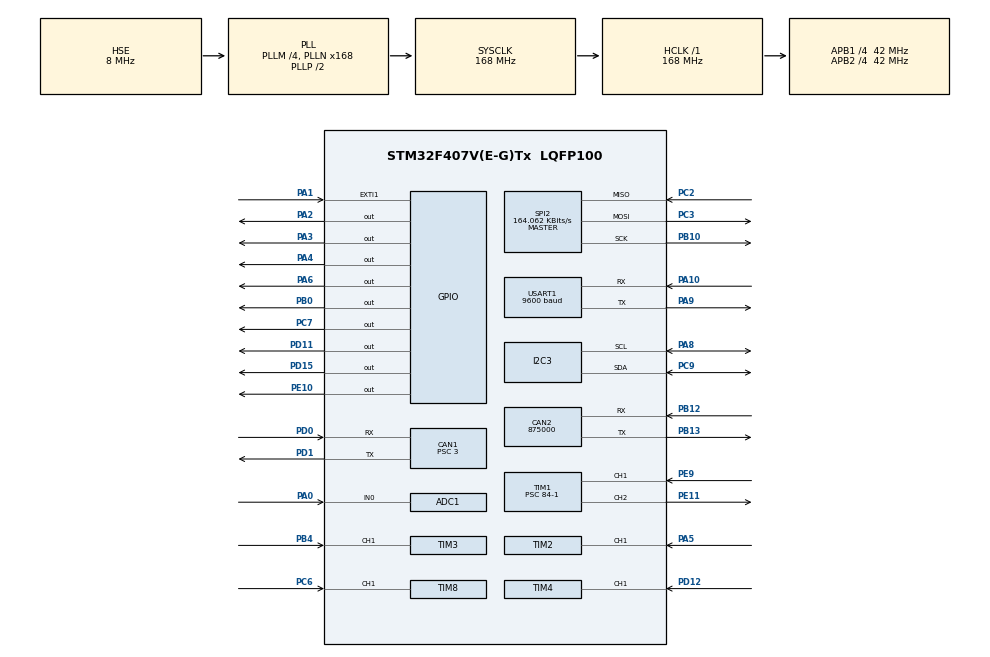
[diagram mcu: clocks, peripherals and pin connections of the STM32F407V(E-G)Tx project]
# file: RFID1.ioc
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ADC1.Channel-0\#ChannelRegularConversion=ADC_CHANNEL_0
ADC1.NbrOfConversionFlag=1
ADC1.Rank-0\#ChannelRegularConversion=1
ADC1.SamplingTime-0\#ChannelRegularConversion=ADC_SAMPLETIME_15CYCLES
ADC1.ScanConvMode=ENABLE
ADC1.master=1
CAN1.ABOM=DISABLE
CAN1.BS1=CAN_BS1_12TQ
CAN1.CalculateBaudRate=1000000
CAN1.CalculateTimeBit=1000
CAN1.CalculateTimeQuantum=71.42857142857143
CAN1.Mode=CAN_MODE_NORMAL
CAN1.NART=DISABLE
CAN1.Prescaler=3
CAN1.RFLM=DISABLE
CAN1.TXFP=DISABLE
CAN2.CalculateBaudRate=875000
CAN2.CalculateTimeBit=1142
CAN2.CalculateTimeQuantum=380.95238095238096
Dma.ADC1.0.Direction=DMA_PERIPH_TO_MEMORY
Dma.ADC1.0.FIFOMode=DMA_FIFOMODE_DISABLE
Dma.ADC1.0.Instance=DMA2_Stream0
Dma.ADC1.0.MemDataAlignment=DMA_MDATAALIGN_HALFWORD
Dma.ADC1.0.MemInc=DMA_MINC_ENABLE
Dma.ADC1.0.Mode=DMA_NORMAL
Dma.ADC1.0.PeriphDataAlignment=DMA_PDATAALIGN_HALFWORD
Dma.ADC1.0.PeriphInc=DMA_PINC_DISABLE
Dma.ADC1.0.Priority=DMA_PRIORITY_LOW
Dma.Request0=ADC1
Mcu.Family=STM32F4
Mcu.Name=STM32F407V(E-G)Tx
Mcu.Package=LQFP100
NVIC.ADC_IRQn=true\:0\:0\:false\:false\:true\:true\:true\:true
NVIC.CAN1_RX0_IRQn=true\:0\:0\:false\:false\:true\:true\:true\:true
NVIC.CAN1_RX1_IRQn=true\:0\:0\:false\:false\:true\:true\:true\:true
NVIC.CAN1_TX_IRQn=true\:0\:0\:false\:false\:true\:true\:true\:true
NVIC.DMA2_Stream0_IRQn=true\:0\:0\:false\:false\:true\:false\:true\:true
NVIC.PriorityGroup=NVIC_PRIORITYGROUP_4
NVIC.RCC_IRQn=true\:0\:0\:false\:false\:true\:true\:false\:true
NVIC.TIM1_BRK_TIM9_IRQn=true\:0\:0\:false\:false\:true\:true\:true\:true
NVIC.TIM1_CC_IRQn=true\:0\:0\:false\:false\:true\:true\:true\:true
NVIC.TIM1_TRG_COM_TIM11_IRQn=true\:0\:0\:false\:false\:true\:true\:true\:true
NVIC.TIM1_UP_TIM10_IRQn=true\:0\:0\:false\:false\:true\:true\:true\:true
NVIC.TIM2_IRQn=true\:0\:0\:false\:false\:true\:true\:true\:true
NVIC.TIM3_IRQn=true\:0\:0\:false\:false\:true\:true\:true\:true
NVIC.TIM4_IRQn=true\:0\:0\:false\:false\:true\:true\:true\:true
NVIC.TIM7_IRQn=true\:0\:0\:false\:false\:true\:true\:true\:true
NVIC.TIM8_BRK_TIM12_IRQn=true\:0\:0\:false\:false\:true\:true\:true\:true
NVIC.TIM8_CC_IRQn=true\:0\:0\:false\:false\:true\:true\:true\:true
NVIC.TIM8_TRG_COM_TIM14_IRQn=true\:0\:0\:false\:false\:true\:true\:true\:true
NVIC.TIM8_UP_TIM13_IRQn=true\:0\:0\:false\:false\:true\:true\:true\:true
NVIC.USART1_IRQn=true\:0\:0\:false\:false\:true\:true\:true\:true
PA0-WKUP.Signal=ADCx_IN0
PA1.Signal=GPXTI1
PA10.Mode=Asynchronous
PA10.Signal=USART1_RX
PA13.Mode=Serial_Wire
PA13.Signal=SYS_JTMS-SWDIO
PA14.Mode=Serial_Wire
PA14.Signal=SYS_JTCK-SWCLK
PA2.Signal=GPIO_Output
PA3.Signal=GPIO_Output
PA4.GPIO_PuPd=GPIO_PULLDOWN
PA4.Signal=GPIO_Output
PA5.Signal=S_TIM2_CH1_ETR
PA6.GPIO_PuPd=GPIO_PULLDOWN
PA6.Signal=GPIO_Output
PA8.Mode=I2C
PA8.Signal=I2C3_SCL
PA9.Mode=Asynchronous
PA9.Signal=USART1_TX
PB0.Signal=GPIO_Output
PB10.Mode=Full_Duplex_Master
PB10.Signal=SPI2_SCK
PB12.Mode=CAN_Activate
PB12.Signal=CAN2_RX
PB13.Mode=CAN_Activate
PB13.Signal=CAN2_TX
PB4.Signal=S_TIM3_CH1
PC2.Mode=Full_Duplex_Master
PC2.Signal=SPI2_MISO
PC3.Mode=Full_Duplex_Master
PC3.Signal=SPI2_MOSI
PC6.Signal=S_TIM8_CH1
PC7.Signal=GPIO_Output
PC9.Mode=I2C
PC9.Signal=I2C3_SDA
PD0.GPIO_PuPd=GPIO_PULLUP
PD0.Mode=CAN_Activate
PD0.Signal=CAN1_RX
PD1.Mode=CAN_Activate
PD1.Signal=CAN1_TX
PD11.GPIO_PuPd=GPIO_PULLDOWN
PD11.Signal=GPIO_Output
PD12.Signal=S_TIM4_CH1
PD15.GPIO_PuPd=GPIO_PULLDOWN
PD15.Signal=GPIO_Output
PE10.GPIO_PuPd=GPIO_PULLDOWN
PE10.Signal=GPIO_Output
PE11.Signal=S_TIM1_CH2
PE9.GPIO_PuPd=GPIO_NOPULL
PE9.Signal=S_TIM1_CH1
PH0-OSC_IN.Mode=HSE-External-Oscillator
PH0-OSC_IN.Signal=RCC_OSC_IN
PH1-OSC_OUT.Mode=HSE-External-Oscillator
PH1-OSC_OUT.Signal=RCC_OSC_OUT
ProjectManager.HeapSize=0x200
ProjectManager.StackSize=0x400
ProjectManager.TargetToolchain=STM32CubeIDE
RCC.48MHZClocksFreq_Value=84000000
RCC.AHBFreq_Value=168000000
RCC.APB1CLKDivider=RCC_HCLK_DIV4
RCC.APB1Freq_Value=42000000
RCC.APB1TimFreq_Value=84000000
RCC.APB2CLKDivider=RCC_HCLK_DIV4
RCC.APB2Freq_Value=42000000
RCC.APB2TimFreq_Value=84000000
RCC.CortexFreq_Value=168000000
RCC.HCLKFreq_Value=168000000
RCC.HSE_VALUE=8000000
RCC.HSI_VALUE=16000000
RCC.LSE_VALUE=32768
RCC.PLLM=4
RCC.PLLN=168
RCC.PLLSourceVirtual=RCC_PLLSOURCE_HSE
RCC.SYSCLKFreq_VALUE=168000000
RCC.SYSCLKSource=RCC_SYSCLKSOURCE_PLLCLK
RCC.VCOOutputFreq_Value=336000000
SH.ADCx_IN0.0=ADC1_IN0,IN0
SH.S_TIM1_CH1.0=TIM1_CH1,Input_Capture1_from_TI1
SH.S_TIM1_CH2.0=TIM1_CH2,PWM Generation2 CH2
SH.S_TIM2_CH1_ETR.0=TIM2_CH1,Input_Capture1_from_TI1
SH.S_TIM3_CH1.0=TIM3_CH1,Input_Capture1_from_TI1
SH.S_TIM4_CH1.0=TIM4_CH1,Input_Capture1_from_TI1
SH.S_TIM8_CH1.0=TIM8_CH1,Input_Capture1_from_TI1
SPI2.BaudRatePrescaler=SPI_BAUDRATEPRESCALER_256
SPI2.CalculateBaudRate=164.062 KBits/s
SPI2.Direction=SPI_DIRECTION_2LINES
SPI2.Mode=SPI_MODE_MASTER
SPI2.VirtualType=VM_MASTER
TIM1.Channel-Input_Capture1_from_TI1=TIM_CHANNEL_1
TIM1.Channel-PWM\ Generation2\ CH2=TIM_CHANNEL_2
TIM1.Period=65535-1
TIM1.Prescaler=84-1
TIM2.Channel-Input_Capture1_from_TI1=TIM_CHANNEL_1
TIM2.ICPolarity_CH1=TIM_INPUTCHANNELPOLARITY_FALLING
TIM2.Period=4294967295-1
TIM2.Prescaler=84-1
TIM3.Channel-Input_Capture1_from_TI1=TIM_CHANNEL_1
TIM3.Period=65535-1
TIM3.Prescaler=84-1
TIM4.Channel-Input_Capture1_from_TI1=TIM_CHANNEL_1
TIM4.Period=65535-1
TIM4.Prescaler=84-1
TIM6.Period=65535-1
TIM6.Prescaler=84-1
TIM7.AutoReloadPreload=TIM_AUTORELOAD_PRELOAD_ENABLE
TIM7.Period=999
TIM7.Prescaler=83
TIM8.Channel-Input_Capture1_from_TI1=TIM_CHANNEL_1
TIM8.Period=0xffff-1
TIM8.Prescaler=84-1
USART1.BaudRate=9600
USART1.VirtualMode=VM_ASYNC
VP_CRC_VS_CRC.Mode=CRC_Activate
VP_TIM1_VS_ClockSourceINT.Mode=Internal
VP_TIM2_VS_ClockSourceINT.Mode=Internal
VP_TIM3_VS_ClockSourceINT.Mode=Internal
VP_TIM4_VS_ClockSourceINT.Mode=Internal
VP_TIM6_VS_ClockSourceINT.Mode=Enable_Timer
VP_TIM7_VS_ClockSourceINT.Mode=Enable_Timer
VP_TIM8_VS_ClockSourceINT.Mode=Internal
board=custom

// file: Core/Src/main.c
/* USER CODE BEGIN Header */
/**
  ******************************************************************************
  * @file           : main.c
  * @brief          : Main program body
  ******************************************************************************
  * @attention
  *
  * Copyright (c) 2025 STMicroelectronics.
  * All rights reserved.
  *
  * This software is licensed under terms that can be found in the LICENSE file
  * in the root directory of this software component.
  * If no LICENSE file comes with this software, it is provided AS-IS.
  *
  ******************************************************************************
  */
/* USER CODE END Header */
#include "main.h"

/* USER CODE BEGIN Includes */
#include "RC522.h"
#include "string.h"
#include <stdio.h>
#include <stdbool.h>
#include "MQ135.h"
#include "liquidcrystal_i2c.h"
#include "BNO055_STM32.h"
#include "display.h"
#include "rfid.h"
#include "Debug.h"
#include "can_receive.h"
#include "ultrasonic_sensor.h"
#include "nvic_config.h"
#include "can_tranceive.h"
//#include "sensor_test.h"

/* USER CODE END Includes */

ADC_HandleTypeDef hadc1;
DMA_HandleTypeDef hdma_adc1;

CAN_HandleTypeDef hcan1;
CAN_HandleTypeDef hcan2;

CRC_HandleTypeDef hcrc;

I2C_HandleTypeDef hi2c3;

SPI_HandleTypeDef hspi2;

TIM_HandleTypeDef htim1;
TIM_HandleTypeDef htim2;
TIM_HandleTypeDef htim3;
TIM_HandleTypeDef htim4;
TIM_HandleTypeDef htim6;
TIM_HandleTypeDef htim7;
TIM_HandleTypeDef htim8;

UART_HandleTypeDef huart1;

/* USER CODE BEGIN PV */

CAN_FilterTypeDef canfilterconfig;

uint8_t status;
uint8_t	str[16];
uint8_t sNum[5];

/* USER CODE END PV */

void SystemClock_Config(void);
static void MX_GPIO_Init(void);
static void MX_DMA_Init(void);
static void MX_USART1_UART_Init(void);
static void MX_SPI2_Init(void);
static void MX_ADC1_Init(void);
static void MX_CAN1_Init(void);
static void MX_CRC_Init(void);
static void MX_TIM8_Init(void);
static void MX_CAN2_Init(void);
static void MX_I2C3_Init(void);
static void MX_TIM1_Init(void);
static void MX_TIM2_Init(void);
static void MX_TIM4_Init(void);
static void MX_TIM6_Init(void);
static void MX_TIM3_Init(void);
static void MX_TIM7_Init(void);

/* USER CODE BEGIN 0 */
#define UID_LEN 5
MQ135_HandleTypeDef mq135;

CAN_TxHeaderTypeDef TxHeader;
CAN_RxHeaderTypeDef RxHeader;
uint32_t TxMailbox; //hộp thư sẽ được gửi đến bus CAN
uint8_t txData[8] ;
uint8_t rxData[8];

int datacheck=0;
volatile uint8_t can_rx_flag = 0;
char uart_msg_buffer[64];

 uint32_t debug_timer = 0;
 uint32_t imu_timer = 0;

volatile uint32_t can_tx_count = 0;
volatile uint32_t can_rx_count = 0;
uint32_t last_tick_can_stat = 0;

volatile uint8_t timer10ms_flag = 0;

MQ135_HandleTypeDef mq135;
uint32_t ADC_SAMPLES[1000];
uint32_t NUM_SAMPLES = 0;
volatile uint8_t mq135_done = 0;

void HAL_TIM_PeriodElapsedCallback(TIM_HandleTypeDef *htim)
{
    if (htim->Instance == TIM7) {
        timer10ms_flag = 1;
    }
}
void HAL_ADC_ConvCpltCallback(ADC_HandleTypeDef *hadc) {
    static uint32_t idx = 0;
    ADC_SAMPLES[idx++] = HAL_ADC_GetValue(hadc);

    if (idx < NUM_SAMPLES) {
        HAL_ADC_Start_IT(hadc);
    } else {
        HAL_ADC_Stop_IT(hadc);
        mq135_done = 1;
        idx = 0;
    }
}

/* USER CODE END 0 */

int main(void)
{

  /* MCU Configuration--------------------------------------------------------*/

  /* Reset of all peripherals, Initializes the Flash interface and the Systick. */
  HAL_Init();

  /* Configure the system clock */
  SystemClock_Config();

  /* Initialize all configured peripherals */
  MX_GPIO_Init();
  MX_DMA_Init();
  MX_USART1_UART_Init();
  MX_SPI2_Init();
  MX_ADC1_Init();
  MX_CAN1_Init();
  MX_CRC_Init();
  MX_TIM8_Init();
  MX_CAN2_Init();
  MX_I2C3_Init();
  MX_TIM1_Init();
  MX_TIM2_Init();
  MX_TIM4_Init();
  MX_TIM6_Init();
  MX_TIM3_Init();
  MX_TIM7_Init();
  /* USER CODE BEGIN 2 */
//  HAL_CAN_Start(&hcan1);
//  HAL_TIM_IC_Start_IT(&htim1, TIM_CHANNEL_1);
//  HAL_TIM_IC_Start_IT(&htim1, TIM_CHANNEL_2);
//  HAL_TIM_IC_Start_IT(&htim2, TIM_CHANNEL_1);
//  HAL_TIM_IC_Start_IT(&htim3, TIM_CHANNEL_1);
//  HAL_TIM_IC_Start_IT(&htim4, TIM_CHANNEL_1);
//  HAL_TIM_IC_Start_IT(&htim8, TIM_CHANNEL_1);
//
//  // Enable interrupt đúng kênh
//  __HAL_TIM_ENABLE_IT(&htim1, TIM_IT_CC1);
//  __HAL_TIM_ENABLE_IT(&htim1, TIM_IT_CC2);
//  __HAL_TIM_ENABLE_IT(&htim3, TIM_IT_CC1);
//  __HAL_TIM_ENABLE_IT(&htim4, TIM_IT_CC1);
//  __HAL_TIM_ENABLE_IT(&htim8, TIM_IT_CC1);
  MFRC522_Init();
  BNO055_Init();
  HD44780_Init(2);       // LCD 2 dòng
  HD44780_Backlight();   // Bật đèn nền
  MQ135_Config(&mq135, &hadc1);
  HAL_CAN_Start(&hcan1);
  HAL_CAN_Start(&hcan2);
  CAN_DebugStatus();
  HAL_CAN_ConfigFilter(&hcan1, &canfilterconfig);
  HAL_CAN_ConfigFilter(&hcan2, &canfilterconfig);
	    // Cấu hình và hiệu chuẩn MQ135
	    MQ135_Config(&mq135, &hadc1);
	    MQ135_CalibrateRo(&mq135, 25.0f, 50.0f);  // không khí sạch giả lập
// // Activate the notification
  HAL_CAN_ActivateNotification(&hcan1, CAN_IT_RX_FIFO0_MSG_PENDING);
//  DisplayTopicMenuUART();
//  BNO055_SendEulerCAN();
//  checkRFIDAndControlRelay();
  HAL_TIM_Base_Start_IT(&htim7);

  /* USER CODE END 2 */

  /* Infinite loop */
  /* USER CODE BEGIN WHILE */
  while (1){
//	  HandleUARTChoice();

	  if (can_rx_flag) {
	      can_rx_flag = 0;

	      // Static lưu trạng thái trước đó
	      static uint32_t last_id = 0xFFFFFFFF;
	      static uint8_t last_data[8] = {0};
	      static uint8_t last_dlc = 0;
	      static uint8_t first_time = 1;

	      // Sao lưu dữ liệu hiện tại để tránh bị ghi đè
	      uint32_t curr_id = RxHeader.StdId;
	      uint8_t curr_dlc = RxHeader.DLC;
	      uint8_t curr_data[8];
	      memcpy(curr_data, rxData, curr_dlc);

	      if ((curr_id == 0x013 || curr_id == 0x020) &&
	          (first_time ||
	           curr_id != last_id ||
	           curr_dlc != last_dlc ||
	           memcmp(curr_data, last_data, curr_dlc) != 0)) {

	          CAN_ReceiveAndPrint();

	          // Cập nhật thông tin cho lần so sánh sau
	          last_id = curr_id;
	          last_dlc = curr_dlc;
	          memcpy(last_data, curr_data, curr_dlc);
	          first_time = 0;
	      }
	  }
	  Send_All_SensorData_CAN();
//	  checkRFIDAndControlRelay();
	  DisplaySensorData_ByTopic ();

	    if (HAL_GetTick() - last_tick_can_stat >= 1000) {
	           char msg[64];
	           snprintf(msg, sizeof(msg), "\r\nCAN TX/s: %lu | RX/s: %lu\r\n", can_tx_count, can_rx_count);
	           HAL_UART_Transmit(&huart2, (uint8_t*)msg, strlen(msg), HAL_MAX_DELAY);

	           can_tx_count = 0;
	           can_rx_count = 0;
	           last_tick_can_stat = HAL_GetTick();
	       }

    /* USER CODE END WHILE */

  }
}

void SystemClock_Config(void)
{
  RCC_OscInitTypeDef RCC_OscInitStruct = {0};
  RCC_ClkInitTypeDef RCC_ClkInitStruct = {0};

  /** Configure the main internal regulator output voltage
  */
  __HAL_RCC_PWR_CLK_ENABLE();
  __HAL_PWR_VOLTAGESCALING_CONFIG(PWR_REGULATOR_VOLTAGE_SCALE1);

  /** Initializes the RCC Oscillators according to the specified parameters
  * in the RCC_OscInitTypeDef structure.
  */
  RCC_OscInitStruct.OscillatorType = RCC_OSCILLATORTYPE_HSE;
  RCC_OscInitStruct.HSEState = RCC_HSE_ON;
  RCC_OscInitStruct.PLL.PLLState = RCC_PLL_ON;
  RCC_OscInitStruct.PLL.PLLSource = RCC_PLLSOURCE_HSE;
  RCC_OscInitStruct.PLL.PLLM = 4;
  RCC_OscInitStruct.PLL.PLLN = 168;
  RCC_OscInitStruct.PLL.PLLP = RCC_PLLP_DIV2;
  RCC_OscInitStruct.PLL.PLLQ = 4;
  if (HAL_RCC_OscConfig(&RCC_OscInitStruct) != HAL_OK)
  {
    Error_Handler();
  }

  /** Initializes the CPU, AHB and APB buses clocks
  */
  RCC_ClkInitStruct.ClockType = RCC_CLOCKTYPE_HCLK|RCC_CLOCKTYPE_SYSCLK
                              |RCC_CLOCKTYPE_PCLK1|RCC_CLOCKTYPE_PCLK2;
  RCC_ClkInitStruct.SYSCLKSource = RCC_SYSCLKSOURCE_PLLCLK;
  RCC_ClkInitStruct.AHBCLKDivider = RCC_SYSCLK_DIV1;
  RCC_ClkInitStruct.APB1CLKDivider = RCC_HCLK_DIV4;
  RCC_ClkInitStruct.APB2CLKDivider = RCC_HCLK_DIV4;

  if (HAL_RCC_ClockConfig(&RCC_ClkInitStruct, FLASH_LATENCY_5) != HAL_OK)
  {
    Error_Handler();
  }
}

static void MX_ADC1_Init(void)
{

  ADC_ChannelConfTypeDef sConfig = {0};

  /** Configure the global features of the ADC (Clock, Resolution, Data Alignment and number of conversion)
  */
  hadc1.Instance = ADC1;
  hadc1.Init.ClockPrescaler = ADC_CLOCK_SYNC_PCLK_DIV2;
  hadc1.Init.Resolution = ADC_RESOLUTION_12B;
  hadc1.Init.ScanConvMode = ENABLE;
  hadc1.Init.ContinuousConvMode = DISABLE;
  hadc1.Init.DiscontinuousConvMode = DISABLE;
  hadc1.Init.ExternalTrigConvEdge = ADC_EXTERNALTRIGCONVEDGE_NONE;
  hadc1.Init.ExternalTrigConv = ADC_SOFTWARE_START;
  hadc1.Init.DataAlign = ADC_DATAALIGN_RIGHT;
  hadc1.Init.NbrOfConversion = 1;
  hadc1.Init.DMAContinuousRequests = DISABLE;
  hadc1.Init.EOCSelection = ADC_EOC_SINGLE_CONV;
  if (HAL_ADC_Init(&hadc1) != HAL_OK)
  {
    Error_Handler();
  }

  /** Configure for the selected ADC regular channel its corresponding rank in the sequencer and its sample time.
  */
  sConfig.Channel = ADC_CHANNEL_0;
  sConfig.Rank = 1;
  sConfig.SamplingTime = ADC_SAMPLETIME_15CYCLES;
  if (HAL_ADC_ConfigChannel(&hadc1, &sConfig) != HAL_OK)
  {
    Error_Handler();
  }

}

static void MX_CAN1_Init(void)
{

  hcan1.Instance = CAN1;
  hcan1.Init.Prescaler = 3;
  hcan1.Init.Mode = CAN_MODE_NORMAL;
  hcan1.Init.SyncJumpWidth = CAN_SJW_1TQ;
  hcan1.Init.TimeSeg1 = CAN_BS1_12TQ;
  hcan1.Init.TimeSeg2 = CAN_BS2_1TQ;
  hcan1.Init.TimeTriggeredMode = DISABLE;
  hcan1.Init.AutoBusOff = DISABLE;
  hcan1.Init.AutoWakeUp = DISABLE;
  hcan1.Init.AutoRetransmission = DISABLE;
  hcan1.Init.ReceiveFifoLocked = DISABLE;
  hcan1.Init.TransmitFifoPriority = DISABLE;
  if (HAL_CAN_Init(&hcan1) != HAL_OK)
  {
    Error_Handler();
  }
  /* USER CODE BEGIN CAN1_Init 2 */

	canfilterconfig.FilterActivation = CAN_FILTER_ENABLE;
	canfilterconfig.FilterBank = 14;  // hoặc bank khác chưa dùng
	canfilterconfig.FilterFIFOAssignment = CAN_FILTER_FIFO0;
	canfilterconfig.FilterIdHigh = 0x0000;       // 0x100 << 5 = 0x0800
	canfilterconfig.FilterIdLow = 0x0000;            // Không cần dùng
	canfilterconfig.FilterMaskIdHigh = 0x0000;   // 0x7FF << 5 = 0xFFE0
	canfilterconfig.FilterMaskIdLow = 0x0000;
	canfilterconfig.FilterMode = CAN_FILTERMODE_IDMASK;
	canfilterconfig.FilterScale = CAN_FILTERSCALE_32BIT;
	canfilterconfig.SlaveStartFilterBank =0;
  /* USER CODE END CAN1_Init 2 */

}

static void MX_CAN2_Init(void)
{

  hcan2.Instance = CAN2;
  hcan2.Init.Prescaler = 16;
  hcan2.Init.Mode = CAN_MODE_NORMAL;
  hcan2.Init.SyncJumpWidth = CAN_SJW_1TQ;
  hcan2.Init.TimeSeg1 = CAN_BS1_1TQ;
  hcan2.Init.TimeSeg2 = CAN_BS2_1TQ;
  hcan2.Init.TimeTriggeredMode = DISABLE;
  hcan2.Init.AutoBusOff = DISABLE;
  hcan2.Init.AutoWakeUp = DISABLE;
  hcan2.Init.AutoRetransmission = DISABLE;
  hcan2.Init.ReceiveFifoLocked = DISABLE;
  hcan2.Init.TransmitFifoPriority = DISABLE;
  if (HAL_CAN_Init(&hcan2) != HAL_OK)
  {
    Error_Handler();
  }

}

static void MX_CRC_Init(void)
{

  hcrc.Instance = CRC;
  if (HAL_CRC_Init(&hcrc) != HAL_OK)
  {
    Error_Handler();
  }

}

static void MX_I2C3_Init(void)
{

  hi2c3.Instance = I2C3;
  hi2c3.Init.ClockSpeed = 100000;
  hi2c3.Init.DutyCycle = I2C_DUTYCYCLE_2;
  hi2c3.Init.OwnAddress1 = 0;
  hi2c3.Init.AddressingMode = I2C_ADDRESSINGMODE_7BIT;
  hi2c3.Init.DualAddressMode = I2C_DUALADDRESS_DISABLE;
  hi2c3.Init.OwnAddress2 = 0;
  hi2c3.Init.GeneralCallMode = I2C_GENERALCALL_DISABLE;
  hi2c3.Init.NoStretchMode = I2C_NOSTRETCH_DISABLE;
  if (HAL_I2C_Init(&hi2c3) != HAL_OK)
  {
    Error_Handler();
  }

}

static void MX_SPI2_Init(void)
{

  /* SPI2 parameter configuration*/
  hspi2.Instance = SPI2;
  hspi2.Init.Mode = SPI_MODE_MASTER;
  hspi2.Init.Direction = SPI_DIRECTION_2LINES;
  hspi2.Init.DataSize = SPI_DATASIZE_8BIT;
  hspi2.Init.CLKPolarity = SPI_POLARITY_LOW;
  hspi2.Init.CLKPhase = SPI_PHASE_1EDGE;
  hspi2.Init.NSS = SPI_NSS_SOFT;
  hspi2.Init.BaudRatePrescaler = SPI_BAUDRATEPRESCALER_256;
  hspi2.Init.FirstBit = SPI_FIRSTBIT_MSB;
  hspi2.Init.TIMode = SPI_TIMODE_DISABLE;
  hspi2.Init.CRCCalculation = SPI_CRCCALCULATION_DISABLE;
  hspi2.Init.CRCPolynomial = 10;
  if (HAL_SPI_Init(&hspi2) != HAL_OK)
  {
    Error_Handler();
  }

}

static void MX_TIM1_Init(void)
{

  TIM_ClockConfigTypeDef sClockSourceConfig = {0};
  TIM_MasterConfigTypeDef sMasterConfig = {0};
  TIM_IC_InitTypeDef sConfigIC = {0};
  TIM_OC_InitTypeDef sConfigOC = {0};
  TIM_BreakDeadTimeConfigTypeDef sBreakDeadTimeConfig = {0};

  htim1.Instance = TIM1;
  htim1.Init.Prescaler = 84-1;
  htim1.Init.CounterMode = TIM_COUNTERMODE_UP;
  htim1.Init.Period = 65535-1;
  htim1.Init.ClockDivision = TIM_CLOCKDIVISION_DIV1;
  htim1.Init.RepetitionCounter = 0;
  htim1.Init.AutoReloadPreload = TIM_AUTORELOAD_PRELOAD_DISABLE;
  if (HAL_TIM_Base_Init(&htim1) != HAL_OK)
  {
    Error_Handler();
  }
  sClockSourceConfig.ClockSource = TIM_CLOCKSOURCE_INTERNAL;
  if (HAL_TIM_ConfigClockSource(&htim1, &sClockSourceConfig) != HAL_OK)
  {
    Error_Handler();
  }
  if (HAL_TIM_IC_Init(&htim1) != HAL_OK)
  {
    Error_Handler();
  }
  if (HAL_TIM_PWM_Init(&htim1) != HAL_OK)
  {
    Error_Handler();
  }
  sMasterConfig.MasterOutputTrigger = TIM_TRGO_RESET;
  sMasterConfig.MasterSlaveMode = TIM_MASTERSLAVEMODE_DISABLE;
  if (HAL_TIMEx_MasterConfigSynchronization(&htim1, &sMasterConfig) != HAL_OK)
  {
    Error_Handler();
  }
  sConfigIC.ICPolarity = TIM_INPUTCHANNELPOLARITY_RISING;
  sConfigIC.ICSelection = TIM_ICSELECTION_DIRECTTI;
  sConfigIC.ICPrescaler = TIM_ICPSC_DIV1;
  sConfigIC.ICFilter = 0;
  if (HAL_TIM_IC_ConfigChannel(&htim1, &sConfigIC, TIM_CHANNEL_1) != HAL_OK)
  {
    Error_Handler();
  }
  sConfigOC.OCMode = TIM_OCMODE_PWM1;
  sConfigOC.Pulse = 0;
  sConfigOC.OCPolarity = TIM_OCPOLARITY_HIGH;
  sConfigOC.OCNPolarity = TIM_OCNPOLARITY_HIGH;
  sConfigOC.OCFastMode = TIM_OCFAST_DISABLE;
  sConfigOC.OCIdleState = TIM_OCIDLESTATE_RESET;
  sConfigOC.OCNIdleState = TIM_OCNIDLESTATE_RESET;
  if (HAL_TIM_PWM_ConfigChannel(&htim1, &sConfigOC, TIM_CHANNEL_2) != HAL_OK)
  {
    Error_Handler();
  }
  sBreakDeadTimeConfig.OffStateRunMode = TIM_OSSR_DISABLE;
  sBreakDeadTimeConfig.OffStateIDLEMode = TIM_OSSI_DISABLE;
  sBreakDeadTimeConfig.LockLevel = TIM_LOCKLEVEL_OFF;
  sBreakDeadTimeConfig.DeadTime = 0;
  sBreakDeadTimeConfig.BreakState = TIM_BREAK_DISABLE;
  sBreakDeadTimeConfig.BreakPolarity = TIM_BREAKPOLARITY_HIGH;
  sBreakDeadTimeConfig.AutomaticOutput = TIM_AUTOMATICOUTPUT_DISABLE;
  if (HAL_TIMEx_ConfigBreakDeadTime(&htim1, &sBreakDeadTimeConfig) != HAL_OK)
  {
    Error_Handler();
  }
  HAL_TIM_MspPostInit(&htim1);

}

static void MX_TIM2_Init(void)
{

  TIM_ClockConfigTypeDef sClockSourceConfig = {0};
  TIM_MasterConfigTypeDef sMasterConfig = {0};
  TIM_IC_InitTypeDef sConfigIC = {0};

  htim2.Instance = TIM2;
  htim2.Init.Prescaler = 84-1;
  htim2.Init.CounterMode = TIM_COUNTERMODE_UP;
  htim2.Init.Period = 4294967295-1;
  htim2.Init.ClockDivision = TIM_CLOCKDIVISION_DIV1;
  htim2.Init.AutoReloadPreload = TIM_AUTORELOAD_PRELOAD_DISABLE;
  if (HAL_TIM_Base_Init(&htim2) != HAL_OK)
  {
    Error_Handler();
  }
  sClockSourceConfig.ClockSource = TIM_CLOCKSOURCE_INTERNAL;
  if (HAL_TIM_ConfigClockSource(&htim2, &sClockSourceConfig) != HAL_OK)
  {
    Error_Handler();
  }
  if (HAL_TIM_IC_Init(&htim2) != HAL_OK)
  {
    Error_Handler();
  }
  sMasterConfig.MasterOutputTrigger = TIM_TRGO_RESET;
  sMasterConfig.MasterSlaveMode = TIM_MASTERSLAVEMODE_DISABLE;
  if (HAL_TIMEx_MasterConfigSynchronization(&htim2, &sMasterConfig) != HAL_OK)
  {
    Error_Handler();
  }
  sConfigIC.ICPolarity = TIM_INPUTCHANNELPOLARITY_FALLING;
  sConfigIC.ICSelection = TIM_ICSELECTION_DIRECTTI;
  sConfigIC.ICPrescaler = TIM_ICPSC_DIV1;
  sConfigIC.ICFilter = 0;
  if (HAL_TIM_IC_ConfigChannel(&htim2, &sConfigIC, TIM_CHANNEL_1) != HAL_OK)
  {
    Error_Handler();
  }

}

static void MX_TIM3_Init(void)
{

  TIM_ClockConfigTypeDef sClockSourceConfig = {0};
  TIM_MasterConfigTypeDef sMasterConfig = {0};
  TIM_IC_InitTypeDef sConfigIC = {0};

  htim3.Instance = TIM3;
  htim3.Init.Prescaler = 84-1;
  htim3.Init.CounterMode = TIM_COUNTERMODE_UP;
  htim3.Init.Period = 65535-1;
  htim3.Init.ClockDivision = TIM_CLOCKDIVISION_DIV1;
  htim3.Init.AutoReloadPreload = TIM_AUTORELOAD_PRELOAD_DISABLE;
  if (HAL_TIM_Base_Init(&htim3) != HAL_OK)
  {
    Error_Handler();
  }
  sClockSourceConfig.ClockSource = TIM_CLOCKSOURCE_INTERNAL;
  if (HAL_TIM_ConfigClockSource(&htim3, &sClockSourceConfig) != HAL_OK)
  {
    Error_Handler();
  }
  if (HAL_TIM_IC_Init(&htim3) != HAL_OK)
  {
    Error_Handler();
  }
  sMasterConfig.MasterOutputTrigger = TIM_TRGO_RESET;
  sMasterConfig.MasterSlaveMode = TIM_MASTERSLAVEMODE_DISABLE;
  if (HAL_TIMEx_MasterConfigSynchronization(&htim3, &sMasterConfig) != HAL_OK)
  {
    Error_Handler();
  }
  sConfigIC.ICPolarity = TIM_INPUTCHANNELPOLARITY_RISING;
  sConfigIC.ICSelection = TIM_ICSELECTION_DIRECTTI;
  sConfigIC.ICPrescaler = TIM_ICPSC_DIV1;
  sConfigIC.ICFilter = 0;
  if (HAL_TIM_IC_ConfigChannel(&htim3, &sConfigIC, TIM_CHANNEL_1) != HAL_OK)
  {
    Error_Handler();
  }

}

static void MX_TIM4_Init(void)
{

  TIM_ClockConfigTypeDef sClockSourceConfig = {0};
  TIM_MasterConfigTypeDef sMasterConfig = {0};
  TIM_IC_InitTypeDef sConfigIC = {0};

  htim4.Instance = TIM4;
  htim4.Init.Prescaler = 84-1;
  htim4.Init.CounterMode = TIM_COUNTERMODE_UP;
  htim4.Init.Period = 65535-1;
  htim4.Init.ClockDivision = TIM_CLOCKDIVISION_DIV1;
  htim4.Init.AutoReloadPreload = TIM_AUTORELOAD_PRELOAD_DISABLE;
  if (HAL_TIM_Base_Init(&htim4) != HAL_OK)
  {
    Error_Handler();
  }
  sClockSourceConfig.ClockSource = TIM_CLOCKSOURCE_INTERNAL;
  if (HAL_TIM_ConfigClockSource(&htim4, &sClockSourceConfig) != HAL_OK)
  {
    Error_Handler();
  }
  if (HAL_TIM_IC_Init(&htim4) != HAL_OK)
  {
    Error_Handler();
  }
  sMasterConfig.MasterOutputTrigger = TIM_TRGO_RESET;
  sMasterConfig.MasterSlaveMode = TIM_MASTERSLAVEMODE_DISABLE;
  if (HAL_TIMEx_MasterConfigSynchronization(&htim4, &sMasterConfig) != HAL_OK)
  {
    Error_Handler();
  }
  sConfigIC.ICPolarity = TIM_INPUTCHANNELPOLARITY_RISING;
  sConfigIC.ICSelection = TIM_ICSELECTION_DIRECTTI;
  sConfigIC.ICPrescaler = TIM_ICPSC_DIV1;
  sConfigIC.ICFilter = 0;
  if (HAL_TIM_IC_ConfigChannel(&htim4, &sConfigIC, TIM_CHANNEL_1) != HAL_OK)
  {
    Error_Handler();
  }

}

static void MX_TIM6_Init(void)
{

  TIM_MasterConfigTypeDef sMasterConfig = {0};

  htim6.Instance = TIM6;
  htim6.Init.Prescaler = 84-1;
  htim6.Init.CounterMode = TIM_COUNTERMODE_UP;
  htim6.Init.Period = 65535-1;
  htim6.Init.AutoReloadPreload = TIM_AUTORELOAD_PRELOAD_DISABLE;
  if (HAL_TIM_Base_Init(&htim6) != HAL_OK)
  {
    Error_Handler();
  }
  sMasterConfig.MasterOutputTrigger = TIM_TRGO_RESET;
  sMasterConfig.MasterSlaveMode = TIM_MASTERSLAVEMODE_DISABLE;
  if (HAL_TIMEx_MasterConfigSynchronization(&htim6, &sMasterConfig) != HAL_OK)
  {
    Error_Handler();
  }

}

static void MX_TIM7_Init(void)
{

  TIM_MasterConfigTypeDef sMasterConfig = {0};

  htim7.Instance = TIM7;
  htim7.Init.Prescaler = 83;
  htim7.Init.CounterMode = TIM_COUNTERMODE_UP;
  htim7.Init.Period = 999;
  htim7.Init.AutoReloadPreload = TIM_AUTORELOAD_PRELOAD_ENABLE;
  if (HAL_TIM_Base_Init(&htim7) != HAL_OK)
  {
    Error_Handler();
  }
  sMasterConfig.MasterOutputTrigger = TIM_TRGO_RESET;
  sMasterConfig.MasterSlaveMode = TIM_MASTERSLAVEMODE_DISABLE;
  if (HAL_TIMEx_MasterConfigSynchronization(&htim7, &sMasterConfig) != HAL_OK)
  {
    Error_Handler();
  }

}

static void MX_TIM8_Init(void)
{

  TIM_ClockConfigTypeDef sClockSourceConfig = {0};
  TIM_MasterConfigTypeDef sMasterConfig = {0};
  TIM_IC_InitTypeDef sConfigIC = {0};

  htim8.Instance = TIM8;
  htim8.Init.Prescaler = 84-1;
  htim8.Init.CounterMode = TIM_COUNTERMODE_UP;
  htim8.Init.Period = 0xffff-1;
  htim8.Init.ClockDivision = TIM_CLOCKDIVISION_DIV1;
  htim8.Init.RepetitionCounter = 0;
  htim8.Init.AutoReloadPreload = TIM_AUTORELOAD_PRELOAD_DISABLE;
  if (HAL_TIM_Base_Init(&htim8) != HAL_OK)
  {
    Error_Handler();
  }
  sClockSourceConfig.ClockSource = TIM_CLOCKSOURCE_INTERNAL;
  if (HAL_TIM_ConfigClockSource(&htim8, &sClockSourceConfig) != HAL_OK)
  {
    Error_Handler();
  }
  if (HAL_TIM_IC_Init(&htim8) != HAL_OK)
  {
    Error_Handler();
  }
  sMasterConfig.MasterOutputTrigger = TIM_TRGO_RESET;
  sMasterConfig.MasterSlaveMode = TIM_MASTERSLAVEMODE_DISABLE;
  if (HAL_TIMEx_MasterConfigSynchronization(&htim8, &sMasterConfig) != HAL_OK)
  {
    Error_Handler();
  }
  sConfigIC.ICPolarity = TIM_INPUTCHANNELPOLARITY_RISING;
  sConfigIC.ICSelection = TIM_ICSELECTION_DIRECTTI;
  sConfigIC.ICPrescaler = TIM_ICPSC_DIV1;
  sConfigIC.ICFilter = 0;
  if (HAL_TIM_IC_ConfigChannel(&htim8, &sConfigIC, TIM_CHANNEL_1) != HAL_OK)
  {
    Error_Handler();
  }

}

static void MX_USART1_UART_Init(void)
{

  huart1.Instance = USART1;
  huart1.Init.BaudRate = 9600;
  huart1.Init.WordLength = UART_WORDLENGTH_8B;
  huart1.Init.StopBits = UART_STOPBITS_1;
  huart1.Init.Parity = UART_PARITY_NONE;
  huart1.Init.Mode = UART_MODE_TX_RX;
  huart1.Init.HwFlowCtl = UART_HWCONTROL_NONE;
  huart1.Init.OverSampling = UART_OVERSAMPLING_16;
  if (HAL_UART_Init(&huart1) != HAL_OK)
  {
    Error_Handler();
  }

}

static void MX_DMA_Init(void)
{

  /* DMA controller clock enable */
  __HAL_RCC_DMA2_CLK_ENABLE();

  /* DMA interrupt init */
  /* DMA2_Stream0_IRQn interrupt configuration */
  HAL_NVIC_SetPriority(DMA2_Stream0_IRQn, 0, 0);
  HAL_NVIC_EnableIRQ(DMA2_Stream0_IRQn);

}

static void MX_GPIO_Init(void)
{
  GPIO_InitTypeDef GPIO_InitStruct = {0};

  /* GPIO Ports Clock Enable */
  __HAL_RCC_GPIOH_CLK_ENABLE();
  __HAL_RCC_GPIOC_CLK_ENABLE();
  __HAL_RCC_GPIOA_CLK_ENABLE();
  __HAL_RCC_GPIOB_CLK_ENABLE();
  __HAL_RCC_GPIOE_CLK_ENABLE();
  __HAL_RCC_GPIOD_CLK_ENABLE();

  /*Configure GPIO pin Output Level */
  HAL_GPIO_WritePin(GPIOA, GPIO_PIN_2|GPIO_PIN_3|GPIO_PIN_4|GPIO_PIN_6, GPIO_PIN_RESET);

  /*Configure GPIO pin Output Level */
  HAL_GPIO_WritePin(GPIOB, GPIO_PIN_0, GPIO_PIN_RESET);

  /*Configure GPIO pin Output Level */
  HAL_GPIO_WritePin(GPIOE, GPIO_PIN_10, GPIO_PIN_RESET);

  /*Configure GPIO pin Output Level */
  HAL_GPIO_WritePin(GPIOD, GPIO_PIN_11|GPIO_PIN_15, GPIO_PIN_RESET);

  /*Configure GPIO pin Output Level */
  HAL_GPIO_WritePin(GPIOC, GPIO_PIN_7, GPIO_PIN_RESET);

  /*Configure GPIO pin : PA1 */
  GPIO_InitStruct.Pin = GPIO_PIN_1;
  GPIO_InitStruct.Mode = GPIO_MODE_IT_RISING;
  GPIO_InitStruct.Pull = GPIO_NOPULL;
  HAL_GPIO_Init(GPIOA, &GPIO_InitStruct);

  /*Configure GPIO pins : PA2 PA3 */
  GPIO_InitStruct.Pin = GPIO_PIN_2|GPIO_PIN_3;
  GPIO_InitStruct.Mode = GPIO_MODE_OUTPUT_PP;
  GPIO_InitStruct.Pull = GPIO_NOPULL;
  GPIO_InitStruct.Speed = GPIO_SPEED_FREQ_LOW;
  HAL_GPIO_Init(GPIOA, &GPIO_InitStruct);

  /*Configure GPIO pins : PA4 PA6 */
  GPIO_InitStruct.Pin = GPIO_PIN_4|GPIO_PIN_6;
  GPIO_InitStruct.Mode = GPIO_MODE_OUTPUT_PP;
  GPIO_InitStruct.Pull = GPIO_PULLDOWN;
  GPIO_InitStruct.Speed = GPIO_SPEED_FREQ_LOW;
  HAL_GPIO_Init(GPIOA, &GPIO_InitStruct);

  /*Configure GPIO pin : PB0 */
  GPIO_InitStruct.Pin = GPIO_PIN_0;
  GPIO_InitStruct.Mode = GPIO_MODE_OUTPUT_PP;
  GPIO_InitStruct.Pull = GPIO_NOPULL;
  GPIO_InitStruct.Speed = GPIO_SPEED_FREQ_LOW;
  HAL_GPIO_Init(GPIOB, &GPIO_InitStruct);

  /*Configure GPIO pin : PE10 */
  GPIO_InitStruct.Pin = GPIO_PIN_10;
  GPIO_InitStruct.Mode = GPIO_MODE_OUTPUT_PP;
  GPIO_InitStruct.Pull = GPIO_PULLDOWN;
  GPIO_InitStruct.Speed = GPIO_SPEED_FREQ_LOW;
  HAL_GPIO_Init(GPIOE, &GPIO_InitStruct);

  /*Configure GPIO pins : PD11 PD15 */
  GPIO_InitStruct.Pin = GPIO_PIN_11|GPIO_PIN_15;
  GPIO_InitStruct.Mode = GPIO_MODE_OUTPUT_PP;
  GPIO_InitStruct.Pull = GPIO_PULLDOWN;
  GPIO_InitStruct.Speed = GPIO_SPEED_FREQ_LOW;
  HAL_GPIO_Init(GPIOD, &GPIO_InitStruct);

  /*Configure GPIO pin : PC7 */
  GPIO_InitStruct.Pin = GPIO_PIN_7;
  GPIO_InitStruct.Mode = GPIO_MODE_OUTPUT_PP;
  GPIO_InitStruct.Pull = GPIO_NOPULL;
  GPIO_InitStruct.Speed = GPIO_SPEED_FREQ_LOW;
  HAL_GPIO_Init(GPIOC, &GPIO_InitStruct);

}

void Error_Handler(void)
{
  __disable_irq();
  while (1)
  {
  }
}
